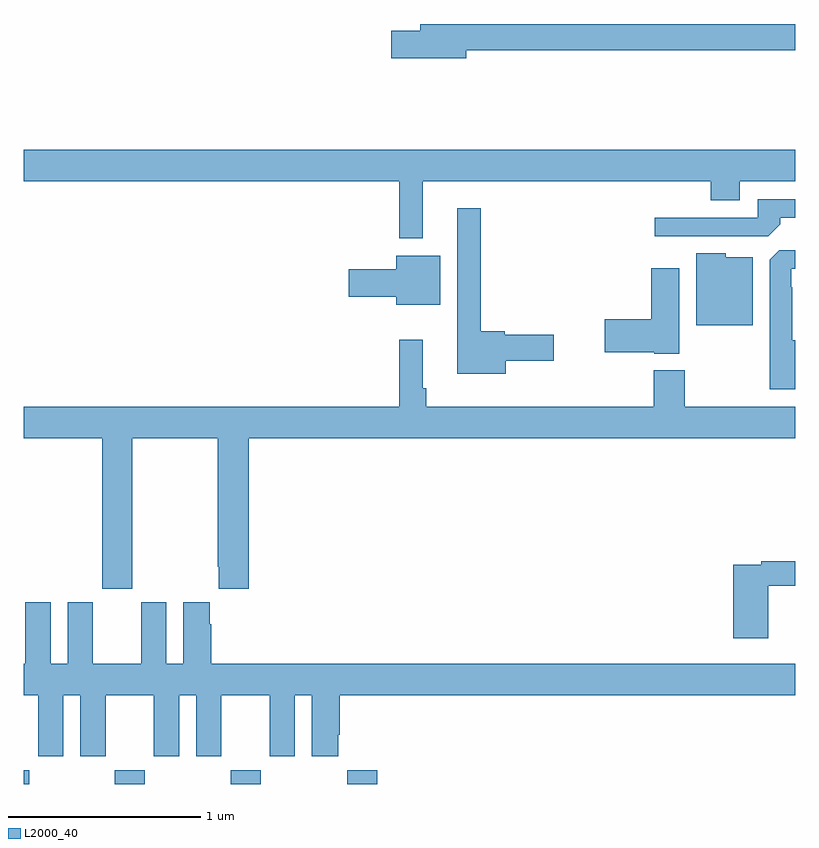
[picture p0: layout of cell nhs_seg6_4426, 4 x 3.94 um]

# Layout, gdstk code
import gdstk
lib = gdstk.Library(unit=1e-6, precision=1e-09)
def R(c, l, rs):  # rectangles x0, y0, x1, y1
    for r in rs: c.add(gdstk.rectangle(r[:2], r[2:], *l))
def P(c, l, *ps):  # polygons
    for p in ps: c.add(gdstk.Polygon(p, *l))
L2000_40 = (2000, 40)

nhs_seg6_4426 = lib.new_cell('nhs_seg6_4426')
R(nhs_seg6_4426, L2000_40, [(371,989.5,371.028,989.572), (371.473,989.5,371.628,989.572), (372.073,989.5,372.228,989.572), (372.677,989.5,372.833,989.572)])
P(nhs_seg6_4426, L2000_40, [(373.294,993.304),(375,993.304),(375,993.44),(373.055,993.44),(373.055,993.404),(372.906,993.404),(372.906,993.262),(373.294,993.262)],
  [(373.069,992.624),(374.561,992.624),(374.561,992.525),(374.713,992.525),(374.713,992.624),(375,992.624),(375,992.788),(371,992.788),(371,992.624),(372.948,992.624),(372.948,992.328),(373.069,992.328)],
  [(374.921,992.402),(374.921,992.436),(375,992.436),(375,992.532),(374.805,992.532),(374.805,992.436),(374.271,992.436),(374.271,992.34),(374.859,992.34)],
  [(373.498,991.694),(373.747,991.694),(373.747,991.829),(373.494,991.829),(373.494,991.847),(373.369,991.847),(373.369,992.485),(373.247,992.485),(373.247,991.628),(373.498,991.628)],
  [(375,991.801),(374.983,991.801),(374.983,992.075),(374.979,992.075),(374.979,992.172),(375,992.172),(375,992.268),(374.916,992.268),(374.867,992.219),(374.867,991.547),(375,991.547)],
  [(374.779,992.23),(374.64,992.23),(374.64,992.251),(374.486,992.251),(374.486,991.877),(374.779,991.877)],
  [(373.159,992.239),(372.932,992.239),(372.932,992.169),(372.684,992.169),(372.684,992.027),(372.932,992.027),(372.932,991.985),(373.159,991.985)],
  [(374.398,992.173),(374.252,992.173),(374.252,991.91),(374.013,991.91),(374.013,991.739),(374.268,991.739),(374.268,991.73),(374.398,991.73)],
  [(371,991.292),(371.407,991.292),(371.407,990.513),(371.562,990.513),(371.562,991.292),(372.007,991.292),(372.007,990.625),(372.011,990.625),(372.011,990.513),(372.167,990.513),(372.167,991.292),(375,991.292),(375,991.456),(374.427,991.456),(374.427,991.645),(374.267,991.645),(374.267,991.456),(373.087,991.456),(373.087,991.552),(373.069,991.552),(373.069,991.804),(372.948,991.804),(372.948,991.456),(371,991.456)],
  [(374.861,990.528),(375,990.528),(375,990.656),(374.824,990.656),(374.824,990.636),(374.678,990.636),(374.678,990.255),(374.861,990.255)],
  [(371.206,989.96),(371.294,989.96),(371.294,989.643),(371.425,989.643),(371.425,989.96),(371.675,989.96),(371.675,989.643),(371.806,989.643),(371.806,989.96),(371.894,989.96),(371.894,989.643),(372.025,989.643),(372.025,989.96),(372.275,989.96),(372.275,989.643),(372.406,989.643),(372.406,989.96),(372.494,989.96),(372.494,989.643),(372.631,989.643),(372.631,989.755),(372.638,989.755),(372.638,989.96),(375,989.96),(375,990.124),(371.972,990.124),(371.972,990.329),(371.965,990.329),(371.965,990.442),(371.828,990.442),(371.828,990.124),(371.74,990.124),(371.74,990.442),(371.609,990.442),(371.609,990.124),(371.359,990.124),(371.359,990.442),(371.228,990.442),(371.228,990.124),(371.14,990.124),(371.14,990.442),(371.009,990.442),(371.009,990.124),(371,990.124),(371,989.96),(371.075,989.96),(371.075,989.643),(371.206,989.643)])

lib.write_gds('nhs_seg6_4426.gds')
